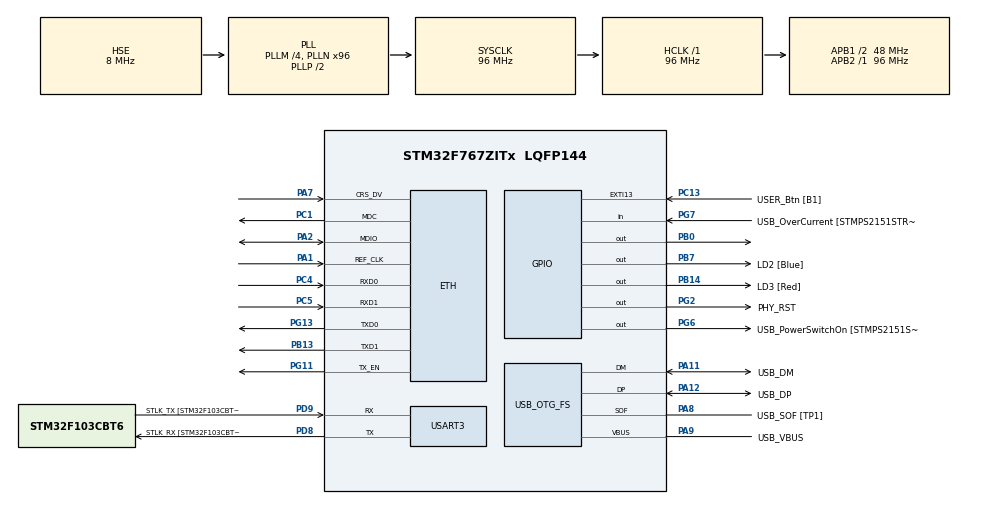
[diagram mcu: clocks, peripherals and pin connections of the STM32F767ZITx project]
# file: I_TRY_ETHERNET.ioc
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ETH.MediaInterface=HAL_ETH_RMII_MODE
LWIP.GATEWAY_ADDRESS=192.168.001.001
LWIP.IP_ADDRESS=192.168.001.050
LWIP.LWIP_DHCP=0
LWIP.NETMASK_ADDRESS=255.255.255.000
LWIP.Version=v2.1.2_Cube
Mcu.Family=STM32F7
Mcu.Name=STM32F767ZITx
Mcu.Package=LQFP144
NVIC.PriorityGroup=NVIC_PRIORITYGROUP_4
PA1.GPIO_Mode=GPIO_MODE_AF_PP
PA1.GPIO_PuPd=GPIO_NOPULL
PA1.GPIO_Speed=GPIO_SPEED_FREQ_VERY_HIGH
PA1.Mode=RMII
PA1.Signal=ETH_REF_CLK
PA10.GPIO_Label=USB_ID
PA10.Signal=USB_OTG_FS_ID
PA11.GPIO_Label=USB_DM
PA11.Mode=Device_Only
PA11.Signal=USB_OTG_FS_DM
PA12.GPIO_Label=USB_DP
PA12.Mode=Device_Only
PA12.Signal=USB_OTG_FS_DP
PA13.GPIO_Label=TMS
PA13.Mode=Serial_Wire
PA13.Signal=SYS_JTMS-SWDIO
PA14.GPIO_Label=TCK
PA14.Mode=Serial_Wire
PA14.Signal=SYS_JTCK-SWCLK
PA2.GPIO_Mode=GPIO_MODE_AF_PP
PA2.GPIO_PuPd=GPIO_NOPULL
PA2.GPIO_Speed=GPIO_SPEED_FREQ_VERY_HIGH
PA2.Mode=RMII
PA2.Signal=ETH_MDIO
PA7.GPIO_Mode=GPIO_MODE_AF_PP
PA7.GPIO_PuPd=GPIO_NOPULL
PA7.GPIO_Speed=GPIO_SPEED_FREQ_VERY_HIGH
PA7.Mode=RMII
PA7.Signal=ETH_CRS_DV
PA8.GPIO_Label=USB_SOF [TP1]
PA8.Mode=Activate_SOF_FS
PA8.Signal=USB_OTG_FS_SOF
PA9.GPIO_Label=USB_VBUS
PA9.Mode=Activate_VBUS
PA9.Signal=USB_OTG_FS_VBUS
PB0.Signal=GPIO_Output
PB13.GPIO_Mode=GPIO_MODE_AF_PP
PB13.GPIO_PuPd=GPIO_NOPULL
PB13.GPIO_Speed=GPIO_SPEED_FREQ_VERY_HIGH
PB13.Mode=RMII
PB13.Signal=ETH_TXD1
PB14.GPIO_Label=LD3 [Red]
PB14.Signal=GPIO_Output
PB3.GPIO_Label=SWO
PB3.Signal=SYS_JTDO-SWO
PB7.GPIO_Label=LD2 [Blue]
PB7.Signal=GPIO_Output
PC1.GPIO_Mode=GPIO_MODE_AF_PP
PC1.GPIO_PuPd=GPIO_NOPULL
PC1.GPIO_Speed=GPIO_SPEED_FREQ_VERY_HIGH
PC1.Mode=RMII
PC1.Signal=ETH_MDC
PC13.GPIO_Label=USER_Btn [B1]
PC13.Signal=GPXTI13
PC14/OSC32_IN.Mode=LSE-External-Oscillator
PC14/OSC32_IN.Signal=RCC_OSC32_IN
PC15/OSC32_OUT.Mode=LSE-External-Oscillator
PC15/OSC32_OUT.Signal=RCC_OSC32_OUT
PC4.GPIO_Mode=GPIO_MODE_AF_PP
PC4.GPIO_PuPd=GPIO_NOPULL
PC4.GPIO_Speed=GPIO_SPEED_FREQ_VERY_HIGH
PC4.Mode=RMII
PC4.Signal=ETH_RXD0
PC5.GPIO_Mode=GPIO_MODE_AF_PP
PC5.GPIO_PuPd=GPIO_NOPULL
PC5.GPIO_Speed=GPIO_SPEED_FREQ_VERY_HIGH
PC5.Mode=RMII
PC5.Signal=ETH_RXD1
PD8.GPIO_Label=STLK_RX [STM32F103CBT6_PA3]
PD8.Mode=Asynchronous
PD8.Signal=USART3_TX
PD9.GPIO_Label=STLK_TX [STM32F103CBT6_PA2]
PD9.Mode=Asynchronous
PD9.Signal=USART3_RX
PG11.GPIO_Mode=GPIO_MODE_AF_PP
PG11.GPIO_PuPd=GPIO_NOPULL
PG11.GPIO_Speed=GPIO_SPEED_FREQ_VERY_HIGH
PG11.Mode=RMII
PG11.Signal=ETH_TX_EN
PG13.GPIO_Mode=GPIO_MODE_AF_PP
PG13.GPIO_PuPd=GPIO_NOPULL
PG13.GPIO_Speed=GPIO_SPEED_FREQ_VERY_HIGH
PG13.Mode=RMII
PG13.Signal=ETH_TXD0
PG2.GPIO_Label=PHY_RST
PG2.Signal=GPIO_Output
PG6.GPIO_Label=USB_PowerSwitchOn [STMPS2151STR_EN]
PG6.Signal=GPIO_Output
PG7.GPIO_Label=USB_OverCurrent [STMPS2151STR_FAULT]
PG7.Signal=GPIO_Input
PH0/OSC_IN.GPIO_Label=MCO [STM32F103CBT6_PA8]
PH0/OSC_IN.Mode=HSE-External-Oscillator
PH0/OSC_IN.Signal=RCC_OSC_IN
PH1/OSC_OUT.Mode=HSE-External-Oscillator
PH1/OSC_OUT.Signal=RCC_OSC_OUT
ProjectManager.HeapSize=0x200
ProjectManager.StackSize=0x400
ProjectManager.TargetToolchain=STM32CubeIDE
RCC.48MHZClocksFreq_Value=24000000
RCC.AHBFreq_Value=96000000
RCC.APB1CLKDivider=RCC_HCLK_DIV2
RCC.APB1Freq_Value=48000000
RCC.APB1TimFreq_Value=96000000
RCC.APB2Freq_Value=96000000
RCC.APB2TimFreq_Value=96000000
RCC.CortexFreq_Value=96000000
RCC.HCLKFreq_Value=96000000
RCC.HSE_VALUE=8000000
RCC.HSI_VALUE=16000000
RCC.PLLM=4
RCC.PLLMUL=RCC_PLL_MUL9
RCC.PLLN=96
RCC.PLLQ=4
RCC.PRESCALERUSB=RCC_USBCLKSOURCE_PLL_DIV1_5
RCC.SYSCLKFreq_VALUE=96000000
RCC.SYSCLKSource=RCC_SYSCLKSOURCE_PLLCLK
RCC.SYSCLKSourceVirtual=RCC_SYSCLKSOURCE_PLLCLK
RCC.USBFreq_Value=48000000
RCC.VCOOutputFreq_Value=192000000
USART3.VirtualMode-Asynchronous=VM_ASYNC
USB_OTG_FS.VirtualMode=Device_Only
VP_LWIP_VS_Enabled.Mode=Enabled
board=NUCLEO-F767ZI

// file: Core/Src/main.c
/* USER CODE BEGIN Header */
/**
  ******************************************************************************
  * @file           : main.c
  * @brief          : Main program body
  ******************************************************************************
  * @attention
  *
  * Copyright (c) 2025 STMicroelectronics.
  * All rights reserved.
  *
  * This software is licensed under terms that can be found in the LICENSE file
  * in the root directory of this software component.
  * If no LICENSE file comes with this software, it is provided AS-IS.
  *
  ******************************************************************************
  */
/* USER CODE END Header */
#include "main.h"
#include "lwip.h"

/* USER CODE BEGIN Includes */
#include "lwip/udp.h"
#include "lwip/ip_addr.h"
#include "string.h"
extern struct netif gnetif;
/* USER CODE END Includes */

UART_HandleTypeDef huart3;

PCD_HandleTypeDef hpcd_USB_OTG_FS;

void SystemClock_Config(void);
static void MX_GPIO_Init(void);
static void MX_USART3_UART_Init(void);
static void MX_USB_OTG_FS_PCD_Init(void);

/* USER CODE BEGIN 0 */
static struct udp_pcb *udp_control_pcb;

void udp_control_recv(void *arg,
                      struct udp_pcb *pcb,
                      struct pbuf *p,
                      const ip_addr_t *addr,
                      u16_t port)
{
    if (p == NULL)
        return;

    char msg[32];
    uint16_t len = p->len;
    if (len > sizeof(msg) - 1)
        len = sizeof(msg) - 1;

    memcpy(msg, p->payload, len);
    msg[len] = '\0';

    // --- Управление LED на PB0 ---
    if (strncmp(msg, "ON", 2) == 0) {
        HAL_GPIO_WritePin(GPIOB, GPIO_PIN_0, GPIO_PIN_SET);
    }
    else if (strncmp(msg, "OFF", 3) == 0) {
        HAL_GPIO_WritePin(GPIOB, GPIO_PIN_0, GPIO_PIN_RESET);
    }
    else if (strncmp(msg, "TOGGLE", 6) == 0) {
        HAL_GPIO_TogglePin(GPIOB, GPIO_PIN_0);
    }

    pbuf_free(p);
}

void udp_control_init(void)
{
    udp_control_pcb = udp_new();
    if (udp_control_pcb != NULL)
    {
        udp_bind(udp_control_pcb, IP_ADDR_ANY, 5005);
        udp_recv(udp_control_pcb, udp_control_recv, NULL);
    }

    ip4_addr_t ip = gnetif.ip_addr;
    printf("IP: %s\r\n", ip4addr_ntoa(&ip));
}
/* USER CODE END 0 */

int main(void)
{

  /* MCU Configuration--------------------------------------------------------*/

  /* Reset of all peripherals, Initializes the Flash interface and the Systick. */
  HAL_Init();

  /* Configure the system clock */
  SystemClock_Config();

  /* Initialize all configured peripherals */
  MX_GPIO_Init();
  MX_USART3_UART_Init();
  MX_USB_OTG_FS_PCD_Init();

  HAL_GPIO_WritePin(GPIOG, GPIO_PIN_2, GPIO_PIN_RESET);
  HAL_Delay(50);
  HAL_GPIO_WritePin(GPIOG, GPIO_PIN_2, GPIO_PIN_SET);
  HAL_Delay(100);

  MX_LWIP_Init();
  /* USER CODE BEGIN 2 */
  udp_control_init();
  /* USER CODE END 2 */

  /* Infinite loop */
  while (1)
  {

    /* USER CODE BEGIN 3 */
	  MX_LWIP_Process();
  }
  /* USER CODE END 3 */
}

void SystemClock_Config(void)
{
  RCC_OscInitTypeDef RCC_OscInitStruct = {0};
  RCC_ClkInitTypeDef RCC_ClkInitStruct = {0};

  /** Configure LSE Drive Capability
  */
  HAL_PWR_EnableBkUpAccess();

  /** Configure the main internal regulator output voltage
  */
  __HAL_RCC_PWR_CLK_ENABLE();
  __HAL_PWR_VOLTAGESCALING_CONFIG(PWR_REGULATOR_VOLTAGE_SCALE3);

  /** Initializes the RCC Oscillators according to the specified parameters
  * in the RCC_OscInitTypeDef structure.
  */
  RCC_OscInitStruct.OscillatorType = RCC_OSCILLATORTYPE_HSE;
  RCC_OscInitStruct.HSEState = RCC_HSE_ON;
  RCC_OscInitStruct.PLL.PLLState = RCC_PLL_ON;
  RCC_OscInitStruct.PLL.PLLSource = RCC_PLLSOURCE_HSE;
  RCC_OscInitStruct.PLL.PLLM = 4;
  RCC_OscInitStruct.PLL.PLLN = 96;
  RCC_OscInitStruct.PLL.PLLP = RCC_PLLP_DIV2;
  RCC_OscInitStruct.PLL.PLLQ = 4;
  RCC_OscInitStruct.PLL.PLLR = 2;
  if (HAL_RCC_OscConfig(&RCC_OscInitStruct) != HAL_OK)
  {
    Error_Handler();
  }

  /** Activate the Over-Drive mode
  */
  if (HAL_PWREx_EnableOverDrive() != HAL_OK)
  {
    Error_Handler();
  }

  /** Initializes the CPU, AHB and APB buses clocks
  */
  RCC_ClkInitStruct.ClockType = RCC_CLOCKTYPE_HCLK|RCC_CLOCKTYPE_SYSCLK
                              |RCC_CLOCKTYPE_PCLK1|RCC_CLOCKTYPE_PCLK2;
  RCC_ClkInitStruct.SYSCLKSource = RCC_SYSCLKSOURCE_PLLCLK;
  RCC_ClkInitStruct.AHBCLKDivider = RCC_SYSCLK_DIV1;
  RCC_ClkInitStruct.APB1CLKDivider = RCC_HCLK_DIV2;
  RCC_ClkInitStruct.APB2CLKDivider = RCC_HCLK_DIV1;

  if (HAL_RCC_ClockConfig(&RCC_ClkInitStruct, FLASH_LATENCY_3) != HAL_OK)
  {
    Error_Handler();
  }
}

static void MX_USART3_UART_Init(void)
{

  huart3.Instance = USART3;
  huart3.Init.BaudRate = 115200;
  huart3.Init.WordLength = UART_WORDLENGTH_8B;
  huart3.Init.StopBits = UART_STOPBITS_1;
  huart3.Init.Parity = UART_PARITY_NONE;
  huart3.Init.Mode = UART_MODE_TX_RX;
  huart3.Init.HwFlowCtl = UART_HWCONTROL_NONE;
  huart3.Init.OverSampling = UART_OVERSAMPLING_16;
  huart3.Init.OneBitSampling = UART_ONE_BIT_SAMPLE_DISABLE;
  huart3.AdvancedInit.AdvFeatureInit = UART_ADVFEATURE_NO_INIT;
  if (HAL_UART_Init(&huart3) != HAL_OK)
  {
    Error_Handler();
  }

}

static void MX_USB_OTG_FS_PCD_Init(void)
{

  hpcd_USB_OTG_FS.Instance = USB_OTG_FS;
  hpcd_USB_OTG_FS.Init.dev_endpoints = 6;
  hpcd_USB_OTG_FS.Init.speed = PCD_SPEED_FULL;
  hpcd_USB_OTG_FS.Init.dma_enable = DISABLE;
  hpcd_USB_OTG_FS.Init.phy_itface = PCD_PHY_EMBEDDED;
  hpcd_USB_OTG_FS.Init.Sof_enable = ENABLE;
  hpcd_USB_OTG_FS.Init.low_power_enable = DISABLE;
  hpcd_USB_OTG_FS.Init.lpm_enable = DISABLE;
  hpcd_USB_OTG_FS.Init.vbus_sensing_enable = ENABLE;
  hpcd_USB_OTG_FS.Init.use_dedicated_ep1 = DISABLE;
  if (HAL_PCD_Init(&hpcd_USB_OTG_FS) != HAL_OK)
  {
    Error_Handler();
  }

}

static void MX_GPIO_Init(void)
{
  GPIO_InitTypeDef GPIO_InitStruct = {0};

  /* GPIO Ports Clock Enable */
  __HAL_RCC_GPIOC_CLK_ENABLE();
  __HAL_RCC_GPIOH_CLK_ENABLE();
  __HAL_RCC_GPIOA_CLK_ENABLE();
  __HAL_RCC_GPIOB_CLK_ENABLE();
  __HAL_RCC_GPIOD_CLK_ENABLE();
  __HAL_RCC_GPIOG_CLK_ENABLE();

  /*Configure GPIO pin Output Level */
  HAL_GPIO_WritePin(GPIOB, GPIO_PIN_0|LD3_Pin|LD2_Pin, GPIO_PIN_RESET);

  /*Configure GPIO pin Output Level */
  HAL_GPIO_WritePin(GPIOG, PHY_RST_Pin|USB_PowerSwitchOn_Pin, GPIO_PIN_RESET);

  /*Configure GPIO pin : USER_Btn_Pin */
  GPIO_InitStruct.Pin = USER_Btn_Pin;
  GPIO_InitStruct.Mode = GPIO_MODE_IT_RISING;
  GPIO_InitStruct.Pull = GPIO_NOPULL;
  HAL_GPIO_Init(USER_Btn_GPIO_Port, &GPIO_InitStruct);

  /*Configure GPIO pins : PB0 LD3_Pin LD2_Pin */
  GPIO_InitStruct.Pin = GPIO_PIN_0|LD3_Pin|LD2_Pin;
  GPIO_InitStruct.Mode = GPIO_MODE_OUTPUT_PP;
  GPIO_InitStruct.Pull = GPIO_NOPULL;
  GPIO_InitStruct.Speed = GPIO_SPEED_FREQ_LOW;
  HAL_GPIO_Init(GPIOB, &GPIO_InitStruct);

  /*Configure GPIO pins : PHY_RST_Pin USB_PowerSwitchOn_Pin */
  GPIO_InitStruct.Pin = PHY_RST_Pin|USB_PowerSwitchOn_Pin;
  GPIO_InitStruct.Mode = GPIO_MODE_OUTPUT_PP;
  GPIO_InitStruct.Pull = GPIO_NOPULL;
  GPIO_InitStruct.Speed = GPIO_SPEED_FREQ_LOW;
  HAL_GPIO_Init(GPIOG, &GPIO_InitStruct);

  /*Configure GPIO pin : USB_OverCurrent_Pin */
  GPIO_InitStruct.Pin = USB_OverCurrent_Pin;
  GPIO_InitStruct.Mode = GPIO_MODE_INPUT;
  GPIO_InitStruct.Pull = GPIO_NOPULL;
  HAL_GPIO_Init(USB_OverCurrent_GPIO_Port, &GPIO_InitStruct);

}

void Error_Handler(void)
{
  __disable_irq();
  while (1)
  {
  }
}
